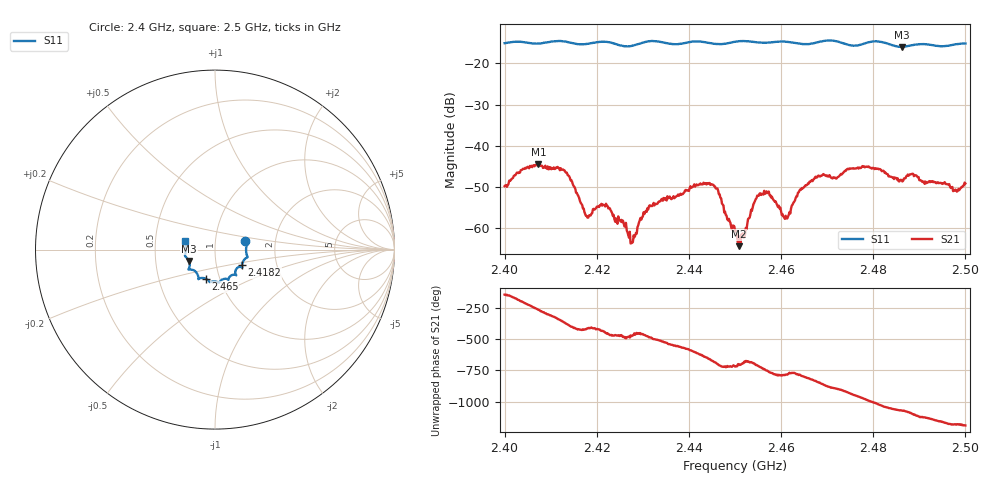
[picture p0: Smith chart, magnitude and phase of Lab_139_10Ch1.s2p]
# Hz S RI R 50
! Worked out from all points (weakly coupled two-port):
!   601 points, 2.4 GHz to 2.5 GHz, reference 50 ohm
!   highest |S21| = -44.54 dB at 2.4073 GHz (marker M1); lowest = -64.3 dB at 2.4508 GHz (marker M2)
!   lowest |S11| = -16.0 dB at 2.4862 GHz (marker M3), VSWR 1.38, Z = 37.1 - j4.84 ohm
!   |S11| at or under -10 dB: start of sweep to end of sweep
!   S12 and S22 are empty: the file has one direction only
!   S11 on the Smith chart (normalised r, x): 2.4 GHz: 1.40, +0.13; 2.4182 GHz: 1.33, -0.23; 2.465 GHz: 0.86, -0.29; 2.5 GHz: 0.71, +0.07
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2.4e9  0.169 0.0456  -0.00267 -0.00184  0 0  0 0
2.407333e9  0.1732 -0.00751  -0.000375 0.00592  0 0  0 0
2.413e9  0.1785 -0.044  0.00499 -0.000662  0 0  0 0
2.416667e9  0.1552 -0.0684  0.00078 -0.00181  0 0  0 0
2.418167e9  0.15 -0.0853  0.000843 -0.00106  0 0  0 0
2.421833e9  0.1525 -0.0999  2.53e-05 -0.00184  0 0  0 0
2.427833e9  0.1141 -0.117  -0.000246 -0.000633  0 0  0 0
2.4305e9  0.1155 -0.1395  -0.000509 -0.00149  0 0  0 0
2.433333e9  0.1169 -0.1413  -0.00174 -0.0011  0 0  0 0
2.444833e9  0.0629 -0.1627  0.00215 0.00265  0 0  0 0
2.45e9  0.0253 -0.1807  0.000945 1.86e-05  0 0  0 0
2.450833e9  0.0229 -0.1837  0.000569 0.000212  0 0  0 0
2.455e9  0.00748 -0.1789  0.00245 0.000269  0 0  0 0
2.457167e9  -0.0115 -0.1776  0.00221 -0.00157  0 0  0 0
2.461e9  -0.0305 -0.1802  0.000651 -0.00126  0 0  0 0
2.465e9  -0.0524 -0.1622  0.000581 -0.0031  0 0  0 0
2.466667e9  -0.0712 -0.1578  -0.000782 -0.00376  0 0  0 0
2.478e9  -0.1326 -0.1112  -0.00144 0.00545  0 0  0 0
2.483333e9  -0.1421 -0.0961  0.00365 0.00218  0 0  0 0
2.486167e9  -0.1447 -0.0636  0.00373 0.000781  0 0  0 0
2.497833e9  -0.1659 0.0346  -0.000443 -0.00291  0 0  0 0
2.5e9  -0.167 0.0471  -0.00109 -0.00332  0 0  0 0
